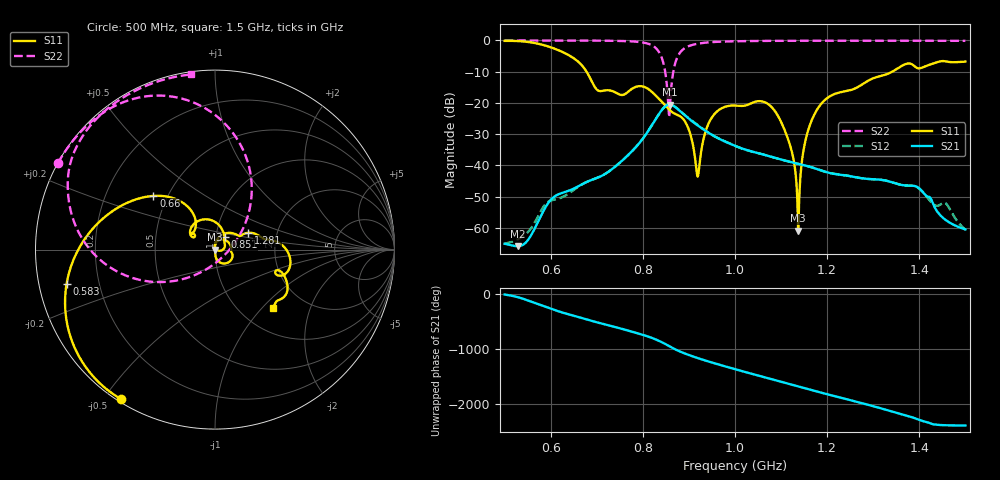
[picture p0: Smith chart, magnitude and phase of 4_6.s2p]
! TOUCHSTONE file generated by CST MICROWAVE STUDIO
! Date and time: Sat Oct 24 11:43:08 2020
! Project name: Scenario_1_Circular_Tissue_out_of_Line.cst
! Parameters = {dy1=-293.977; L_HA=400; MT=2.54; Rad_Dielectric=30; Rad_Lower=7.3; Rad_Upper=30; a_HA=580; a_WG=246; b_HA=500; b_WG=121; c_HA=0; c_WG=187; d_feed=85; dx1=1039; h_feed=15; h_lower=18; h_upper=40}
! Header version: 2018
! Port assignment regex: !\s*Touchstone port\s*([0-9]+)\s*=\s*(CST MWS port|CST DS port)\s*([0-9]+|Zmin|Zmax)\s*\(\"(.*)\"\)(\s*mode\s*([0-9]+))?.*
! Touchstone port assignment:
! Touchstone port 1 = CST MWS port 1 ("")
! Touchstone port 2 = CST MWS port 2 ("")
# GHz S DB R 50
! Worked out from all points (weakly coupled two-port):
!   1001 points, 500 MHz to 1.5 GHz, reference 50 ohm
!   highest |S21| = -20.51 dB at 858 MHz (marker M1); lowest = -65.8 dB at 528 MHz (marker M2)
!   lowest |S11| = -60.9 dB at 1.137 GHz (marker M3), VSWR 1.00, Z = 49.9 - j0.0524 ohm
!   |S11| at or under -10 dB: 677.8 MHz to 1.341 GHz (663.4 MHz wide, 65.7 % of centre)
!   |S22| runs from -24.6 to 0.0 dB; largest |S21 - S12| = 0.0012
!   S11 on the Smith chart (normalised r, x): 500 MHz: 0.01, -0.55; 583 MHz: 0.08, -0.11; 660 MHz: 0.42, +0.32; 851 MHz: 1.10, +0.16; 1.281 GHz: 1.43, +0.28; 1.5 GHz: 1.40, -1.15
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0.5  -0.14 -122.3  -65.07 -15.4  -65.07 -15.4  -0.01 151.1
0.528  -0.20 -135.3  -65.83 -61.6  -63.71 -48.0  -0.01 149.3
0.583  -1.43 -167.0  -54.94 142.7  -53.51 158.9  -0.02 145.4
0.66  -6.84 138.9  -46.65 -62.7  -46.79 -61.8  -0.04 139.0
0.667  -7.85 132.9  -46.09 -79.4  -46.13 -79.1  -0.04 138.4
0.704  -16.11 136.6  -43.80 -167.4  -43.79 -167.3  -0.07 134.4
0.779  -15.24 143.3  -35.06 25.1  -35.06 25.1  -0.33 120.5
0.834  -18.55 70.2  -23.75 -131.4  -23.75 -131.4  -3.46 82.5
0.851  -21.05 52.5  -20.82 156.7  -20.83 156.5  -12.72 41.9
0.858  -22.20 46.6  -20.51 124.1  -20.51 124.1  -23.42 -77.8
0.877  -23.96 30.9  -22.14 44.4  -22.09 44.3  -4.76 -169.1
0.919  -43.56 36.8  -27.20 -87.4  -27.07 -87.4  -1.06 157.9
0.948  -25.07 66.9  -30.03 -163.5  -30.05 -163.8  -0.55 149.3
1  -20.84 4.2  -33.73 70.9  -33.69 70.8  -0.27 140.1
1.087  -22.68 -70.9  -37.57 -129.7  -37.59 -129.5  -0.13 130.8
1.121  -34.31 -85.4  -38.91 152.8  -38.88 153.0  -0.11 127.9
1.137  -60.89 -144.5  -39.46 116.6  -39.45 116.7  -0.11 126.5
1.15  -34.09 95.1  -39.91 87.1  -39.93 87.2  -0.10 125.5
1.167  -25.36 80.9  -40.62 48.6  -40.64 48.6  -0.10 124.2
1.281  -13.60 26.7  -44.22 161.9  -44.21 161.7  -0.08 115.4
1.334  -10.54 10.9  -45.11 39.1  -45.10 39.1  -0.09 111.4
1.5  -6.77 -45.3  -60.48 130.6  -60.57 131.3  -0.13 97.8
